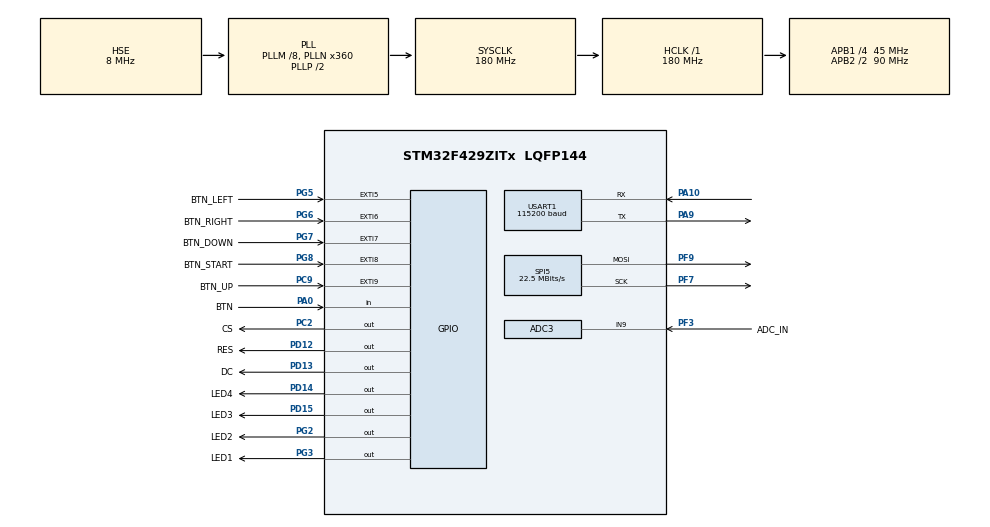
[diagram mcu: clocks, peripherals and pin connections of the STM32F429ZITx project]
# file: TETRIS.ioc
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ADC3.Channel-0\#ChannelRegularConversion=ADC_CHANNEL_9
ADC3.NbrOfConversionFlag=1
ADC3.Rank-0\#ChannelRegularConversion=1
ADC3.SamplingTime-0\#ChannelRegularConversion=ADC_SAMPLETIME_15CYCLES
Mcu.Family=STM32F4
Mcu.Name=STM32F429ZITx
Mcu.Package=LQFP144
NVIC.EXTI9_5_IRQn=true\:0\:0\:false\:false\:true\:true\:true\:true
NVIC.PriorityGroup=NVIC_PRIORITYGROUP_4
NVIC.USART1_IRQn=true\:0\:0\:false\:false\:true\:true\:true\:true
PA0/WKUP.GPIO_Label=BTN
PA0/WKUP.Signal=GPIO_Input
PA10.Mode=Asynchronous
PA10.Signal=USART1_RX
PA9.Mode=Asynchronous
PA9.Signal=USART1_TX
PC2.GPIO_Label=CS
PC2.GPIO_Speed=GPIO_SPEED_FREQ_HIGH
PC2.Signal=GPIO_Output
PC9.GPIO_Label=BTN_UP
PC9.GPIO_ModeDefaultEXTI=GPIO_MODE_IT_FALLING
PC9.GPIO_PuPd=GPIO_PULLUP
PC9.Signal=GPXTI9
PD12.GPIO_Label=RES
PD12.GPIO_Speed=GPIO_SPEED_FREQ_VERY_HIGH
PD12.Signal=GPIO_Output
PD13.GPIO_Label=DC
PD13.GPIO_Speed=GPIO_SPEED_FREQ_VERY_HIGH
PD13.Signal=GPIO_Output
PD14.GPIO_Label=LED4
PD14.Signal=GPIO_Output
PD15.GPIO_Label=LED3
PD15.Signal=GPIO_Output
PF3.GPIO_Label=ADC_IN
PF3.Signal=SharedAnalog_PF3
PF7.Mode=TX_Only_Simplex_Unidirect_Master
PF7.Signal=SPI5_SCK
PF8.Signal=SPI5_MISO
PF9.Mode=TX_Only_Simplex_Unidirect_Master
PF9.Signal=SPI5_MOSI
PG2.GPIO_Label=LED2
PG2.Signal=GPIO_Output
PG3.GPIO_Label=LED1
PG3.Signal=GPIO_Output
PG5.GPIO_Label=BTN_LEFT
PG5.GPIO_ModeDefaultEXTI=GPIO_MODE_IT_FALLING
PG5.GPIO_PuPd=GPIO_PULLUP
PG5.Signal=GPXTI5
PG6.GPIO_Label=BTN_RIGHT
PG6.GPIO_ModeDefaultEXTI=GPIO_MODE_IT_FALLING
PG6.GPIO_PuPd=GPIO_PULLUP
PG6.Signal=GPXTI6
PG7.GPIO_Label=BTN_DOWN
PG7.GPIO_ModeDefaultEXTI=GPIO_MODE_IT_FALLING
PG7.GPIO_PuPd=GPIO_PULLUP
PG7.Signal=GPXTI7
PG8.GPIO_Label=BTN_START
PG8.GPIO_ModeDefaultEXTI=GPIO_MODE_IT_FALLING
PG8.GPIO_PuPd=GPIO_PULLUP
PG8.Signal=GPXTI8
PH0/OSC_IN.Mode=HSE-External-Oscillator
PH0/OSC_IN.Signal=RCC_OSC_IN
PH1/OSC_OUT.Mode=HSE-External-Oscillator
PH1/OSC_OUT.Signal=RCC_OSC_OUT
ProjectManager.HeapSize=0x200
ProjectManager.StackSize=0x400
ProjectManager.TargetToolchain=STM32CubeIDE
RCC.48MHZClocksFreq_Value=90000000
RCC.AHBFreq_Value=180000000
RCC.APB1CLKDivider=RCC_HCLK_DIV4
RCC.APB1Freq_Value=45000000
RCC.APB1TimFreq_Value=90000000
RCC.APB2CLKDivider=RCC_HCLK_DIV2
RCC.APB2Freq_Value=90000000
RCC.APB2TimFreq_Value=180000000
RCC.CortexFreq_Value=180000000
RCC.HCLKFreq_Value=180000000
RCC.HSE_VALUE=8000000
RCC.HSI_VALUE=16000000
RCC.LSE_VALUE=32768
RCC.PLLM=8
RCC.PLLN=360
RCC.PLLSourceVirtual=RCC_PLLSOURCE_HSE
RCC.SYSCLKFreq_VALUE=180000000
RCC.SYSCLKSource=RCC_SYSCLKSOURCE_PLLCLK
RCC.VCOOutputFreq_Value=360000000
SH.SharedAnalog_PF3.0=GPIO_Analog
SH.SharedAnalog_PF3.1=ADC3_IN9,IN9
SPI5.BaudRatePrescaler=SPI_BAUDRATEPRESCALER_4
SPI5.CalculateBaudRate=22.5 MBits/s
SPI5.Direction=SPI_DIRECTION_2LINES
SPI5.Mode=SPI_MODE_MASTER
SPI5.VirtualType=VM_MASTER
USART1.BaudRate=115200
USART1.VirtualMode=VM_ASYNC
board=custom

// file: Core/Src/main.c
/* USER CODE BEGIN Header */
/**
  ******************************************************************************
  * @file           : main.c
  * @brief          : Main program body
  ******************************************************************************
  * @attention
  *
  * Copyright (c) 2025 STMicroelectronics.
  * All rights reserved.
  *
  * This software is licensed under terms that can be found in the LICENSE file
  * in the root directory of this software component.
  * If no LICENSE file comes with this software, it is provided AS-IS.
  *
  ******************************************************************************
  */
/* USER CODE END Header */
#include "main.h"

/* USER CODE BEGIN Includes */
#include "ili9341.h"
#include "fonts.h"
#include "level_imgs.h"
#include "gameover_img.h"
#include <stdio.h>
#include <string.h>
#include <stdlib.h>
/* USER CODE END Includes */

/* USER CODE BEGIN PTD */
typedef struct {
	int8_t x1, y1;
	int8_t x2, y2;
	int8_t x3, y3;
	uint16_t color;
	int8_t rot;
} _Block;
/* USER CODE END PTD */

/* USER CODE BEGIN PD */
#define KEY_IS_DOWN_PRESSED (HAL_GPIO_ReadPin(BTN_DOWN_GPIO_Port, BTN_DOWN_Pin) == GPIO_PIN_RESET)
#define COLOR_BG ILI9341_BLACK
#define COLOR_WALL ILI9341_BLUE
#define COLOR_SCORE_TEXT ILI9341_WHITE
#define COLOR_INFO_TEXT ILI9341_GREEN
#define COLOR_GAMEOVER ILI9341_RED
#define COLOR_FRAME 0xC638
#define O_BLOCK ILI9341_YELLOW
#define I_BLOCK ILI9341_CYAN
#define S_BLOCK ILI9341_GREEN
#define Z_BLOCK ILI9341_RED
#define L_BLOCK ILI9341_COLOR565(255, 165, 0)
#define J_BLOCK ILI9341_BLUE
#define T_BLOCK ILI9341_MAGENTA
#define COLOR_SPACE 0
#define COLOR_CLEARBLOCK ILI9341_WHITE
#define COLOR_GRID ILI9341_COLOR565(64, 64, 64)
#define BOARD_WIDTH 10
#define BOARD_HEIGHT 23
#define BOARD_ARRAY_WIDTH 12
#define BOARD_ARRAY_HEIGHT 25
#define BLOCK_SIZE 10
#define BOARD_X_OFFSET (ILI9341_WIDTH / 2 - (10*BLOCK_SIZE / 2))
#define BOARD_Y_OFFSET 80
#define SCORE_X_OFFSET 10
#define SCORE_Y_OFFSET 10
#define NEXT_X_OFFSET (ILI9341_WIDTH - (5 * BLOCK_SIZE) - 10 - 2)
#define NEXT_Y_OFFSET 22
#define NEXT_AREA_W (5 * BLOCK_SIZE)
#define NEXT_AREA_H (5 * BLOCK_SIZE)
#define NEXT_LABEL_H Font_7x10.height
#define NEXT_PADDING 2
#define SCENECLEARLINE 2
/* USER CODE END PD */

ADC_HandleTypeDef hadc3;

SPI_HandleTypeDef hspi5;

UART_HandleTypeDef huart1;

/* USER CODE BEGIN PV */
		// ---------- UART INPUT ----------
volatile uint8_t input_buffer[1];
volatile uint8_t uart_up=0;
volatile uint8_t uart_left=0;
volatile uint8_t uart_right=0;
volatile uint8_t uart_down=0;
volatile uint8_t uart_start=0;
volatile uint8_t physical_down_key_held = 0;
		// ---------- GAME STATE VARS ----------
uint16_t  board[BOARD_ARRAY_HEIGHT][BOARD_ARRAY_WIDTH];
uint16_t  boardchange[BOARD_ARRAY_HEIGHT][BOARD_ARRAY_WIDTH];
uint32_t score, highscore;
uint32_t total_lines = 0;
uint8_t  next;
uint8_t  fallspeed, fallcount;
uint8_t  level;
uint8_t  gamestatus;
uint8_t  lines;
const uint16_t scorearray[] = {40, 100, 300, 1200};
		// ---------- BLOCK DEFS ----------
const _Block block[7] = {
    {1, 0, -1, 0, -2, 0, I_BLOCK, 1}, // I
    {1, 0, -1, 0, -1,-1, J_BLOCK, 3}, // J
    {1, 0,  1,-1, -1, 0, L_BLOCK, 3}, // L
    {1, 0,  0,-1, -1,-1, Z_BLOCK, 1}, // Z
    {0,-1,  1,-1, -1, 0, S_BLOCK, 1}, // S
    {0,-1, -1, 0, -1,-1, O_BLOCK, 0}, // O
    {1, 0,  0,-1, -1, 0, T_BLOCK, 3}  // T
};
_Block falling;
int8_t  blockx, blocky;
uint8_t blockangle;
uint8_t blockno;
/* USER CODE END PV */

void SystemClock_Config(void);
static void MX_GPIO_Init(void);
static void MX_SPI5_Init(void);
static void MX_USART1_UART_Init(void);
static void MX_ADC3_Init(void);
/* USER CODE BEGIN PFP */
void updateLEDs(void);
void gameinit(void);
void gameinit2(void);
void gameinit3(void);
void title(void);
void game(void);
void clearscreen(void);
void DrawGridCell(uint16_t cell_px, uint16_t cell_py);
void show(void);
void displayscore(void);
void printnext(void);
int  check(_Block *bp, int8_t x, int8_t y);
void putblock(void);
void eraseblock(void);
int  newblock(void);
void moveblock(void);
void linecheck(void);
void displaylevel(void);
void redraw(void);
void gameover(void);
unsigned char startkeycheck(unsigned short n);
/* USER CODE END PFP */

/* USER CODE BEGIN 0 */
void updateLEDs(void) {
  uint32_t sum = 0;
  for (int i = 0; i < 10; i++) {
    HAL_ADC_Start(&hadc3);
    HAL_ADC_PollForConversion(&hadc3, HAL_MAX_DELAY);
    sum += HAL_ADC_GetValue(&hadc3);
    HAL_Delay(1);
  }
  uint32_t adcValue = sum / 10;

  float battV = adcValue * 0.00161; 		// V_in = ADC * (3.3/4095) * (R1+R2)/R2

  if (battV > 5.4) { 						// 100% // >3350 // PG3 PG2 PG15 PG14
    HAL_GPIO_WritePin(LED1_GPIO_Port, LED1_Pin, 1);
    HAL_GPIO_WritePin(LED2_GPIO_Port, LED2_Pin, 1);
    HAL_GPIO_WritePin(LED3_GPIO_Port, LED3_Pin, 1);
    HAL_GPIO_WritePin(LED4_GPIO_Port, LED4_Pin, 1);
  } else if (battV > 4.9) { 				// 75% // 3043–3350 // PG2 PG15 PG14
    HAL_GPIO_WritePin(LED1_GPIO_Port, LED1_Pin, 1);
    HAL_GPIO_WritePin(LED2_GPIO_Port, LED2_Pin, 1);
    HAL_GPIO_WritePin(LED3_GPIO_Port, LED3_Pin, 1);
    HAL_GPIO_WritePin(LED4_GPIO_Port, LED4_Pin, 0);
  } else if (battV > 4.4) { 				// 50% // 2730–3043 // PG15 PG14
    HAL_GPIO_WritePin(LED1_GPIO_Port, LED1_Pin, 1);
    HAL_GPIO_WritePin(LED2_GPIO_Port, LED2_Pin, 1);
    HAL_GPIO_WritePin(LED3_GPIO_Port, LED3_Pin, 0);
    HAL_GPIO_WritePin(LED4_GPIO_Port, LED4_Pin, 0);
  } else if (battV > 3.9) { 				// 25% // 2418–2730 // PG14
    HAL_GPIO_WritePin(LED1_GPIO_Port, LED1_Pin, 1);
    HAL_GPIO_WritePin(LED2_GPIO_Port, LED2_Pin, 0);
    HAL_GPIO_WritePin(LED3_GPIO_Port, LED3_Pin, 0);
    HAL_GPIO_WritePin(LED4_GPIO_Port, LED4_Pin, 0);
  } else {
    HAL_GPIO_WritePin(LED1_GPIO_Port, LED1_Pin, 0);
    HAL_GPIO_WritePin(LED2_GPIO_Port, LED2_Pin, 0);
    HAL_GPIO_WritePin(LED3_GPIO_Port, LED3_Pin, 0);
    HAL_GPIO_WritePin(LED4_GPIO_Port, LED4_Pin, 0);
  }

  HAL_Delay(4000);

  HAL_GPIO_WritePin(LED1_GPIO_Port, LED1_Pin, 0);
  HAL_GPIO_WritePin(LED2_GPIO_Port, LED2_Pin, 0);
  HAL_GPIO_WritePin(LED3_GPIO_Port, LED3_Pin, 0);
  HAL_GPIO_WritePin(LED4_GPIO_Port, LED4_Pin, 0);
}
void clearscreen(void)
{
	ILI9341_FillScreen(COLOR_BG);
}
void gameinit(void)
{
	highscore = 0;
	score = 0;
	total_lines = 0;
}
void gameinit2(void)
{
	score = 0;
	level = 0;
	lines = 0;
	total_lines = 0;
	fallspeed = 25;
	gamestatus = 1;
	clearscreen();
		//GAME AREA
	uint16_t board_frame_x = BOARD_X_OFFSET - 1;
	uint16_t board_frame_y = BOARD_Y_OFFSET - 1;
	uint16_t board_frame_w = BOARD_WIDTH * BLOCK_SIZE + 2; // Width including border pixels
	uint16_t board_frame_h = BOARD_HEIGHT * BLOCK_SIZE + 2; // Height including border pixels
		// Top line
	ILI9341_FillRectangle(board_frame_x, board_frame_y, board_frame_w, 1, COLOR_FRAME);
		// Bottom line
	ILI9341_FillRectangle(board_frame_x, board_frame_y + board_frame_h - 1, board_frame_w, 1, COLOR_FRAME);
		// Left line
	ILI9341_FillRectangle(board_frame_x, board_frame_y, 1, board_frame_h, COLOR_FRAME);
		// Right line
	ILI9341_FillRectangle(board_frame_x + board_frame_w - 1, board_frame_y, 1, board_frame_h, COLOR_FRAME);

		//SCORE AREA
	uint16_t score_frame_x = SCORE_X_OFFSET - 1;
	uint16_t score_frame_y = SCORE_Y_OFFSET - 1;
	uint16_t score_frame_w = 80;
	uint16_t score_frame_h = 5 * (Font_7x10.height + 2) + 4;
	    // Top
	ILI9341_FillRectangle(score_frame_x, score_frame_y, score_frame_w, 1, COLOR_FRAME);
	    // Bottom
	ILI9341_FillRectangle(score_frame_x, score_frame_y + score_frame_h - 1, score_frame_w, 1, COLOR_FRAME);
	    // Left
	ILI9341_FillRectangle(score_frame_x, score_frame_y, 1, score_frame_h, COLOR_FRAME);
	    // Right
	ILI9341_FillRectangle(score_frame_x + score_frame_w - 1, score_frame_y, 1, score_frame_h, COLOR_FRAME);
		//NEXT AREA
	 uint16_t next_frame_x = NEXT_X_OFFSET - NEXT_PADDING;
	 uint16_t next_frame_y = NEXT_Y_OFFSET - NEXT_LABEL_H - NEXT_PADDING*2;
	 uint16_t next_frame_w = NEXT_AREA_W + NEXT_PADDING*2;
	 uint16_t next_frame_h = NEXT_LABEL_H + NEXT_AREA_H + NEXT_PADDING*2;
	    // Top
	ILI9341_FillRectangle(next_frame_x, next_frame_y, next_frame_w, 1, COLOR_FRAME);
	    // Bottom
	ILI9341_FillRectangle(next_frame_x, next_frame_y + next_frame_h - 1, next_frame_w, 1, COLOR_FRAME);
	    // Left
	ILI9341_FillRectangle(next_frame_x, next_frame_y, 1, next_frame_h, COLOR_FRAME);
	    // Right
	ILI9341_FillRectangle(next_frame_x + next_frame_w - 1, next_frame_y, 1, next_frame_h, COLOR_FRAME);
		// GAME AREA LOGIC
	for (int y = 0; y < BOARD_ARRAY_HEIGHT; y++)
	{
		for (int x = 0; x < BOARD_ARRAY_WIDTH; x++)
		{
			if (x == 0 || x == BOARD_ARRAY_WIDTH - 1 || y == BOARD_ARRAY_HEIGHT - 1)
			{
				board[y][x] = COLOR_WALL;
			}
			else {
				board[y][x] = COLOR_SPACE;
			}
		}
	}
		// DRAW PLAYFIELD BACKGROUND
	ILI9341_FillRectangle(BOARD_X_OFFSET, BOARD_Y_OFFSET, BOARD_WIDTH * BLOCK_SIZE, BOARD_HEIGHT * BLOCK_SIZE, COLOR_BG);
		// DRAW GRID
	for(int x = 1; x < BOARD_WIDTH; x++)
	{
		ILI9341_FillRectangle(BOARD_X_OFFSET + x * BLOCK_SIZE -1, BOARD_Y_OFFSET, 1, BOARD_HEIGHT * BLOCK_SIZE, COLOR_GRID);
	}
	for(int y = 1; y < BOARD_HEIGHT; y++) {ILI9341_FillRectangle(BOARD_X_OFFSET, BOARD_Y_OFFSET + y * BLOCK_SIZE -1, BOARD_WIDTH * BLOCK_SIZE, 1, COLOR_GRID);
	}
	for (int y = 0; y < BOARD_ARRAY_HEIGHT; y++)
	{
		for (int x = 0; x < BOARD_ARRAY_WIDTH; x++)
		{
			boardchange[y][x] = 1;
		}
	}
		// DISPLAYS
	displayscore();
	next = rand() % 7;
	printnext();
}
void gameinit3(void)
{
	level++;

	if (fallspeed > 5)
	{
		fallspeed -=3;
	}
	else if (fallspeed > 1) {
		   fallspeed--;
	}
	srand(HAL_GetTick()+level);
}
void DrawGridCell(uint16_t cell_px, uint16_t cell_py)
{
    ILI9341_FillRectangle(cell_px, cell_py + BLOCK_SIZE - 1, BLOCK_SIZE, 1, COLOR_GRID);
    ILI9341_FillRectangle(cell_px + BLOCK_SIZE - 1, cell_py, 1, BLOCK_SIZE, COLOR_GRID);
}
void show(void)
{
	uint16_t color_to_draw;
	for (int y = 1; y <= BOARD_HEIGHT; y++) {
		for (int x = 1; x <= BOARD_WIDTH; x++) {
			if (boardchange[y][x]) {
                uint16_t px = BOARD_X_OFFSET + (x - 1) * BLOCK_SIZE;
                uint16_t py = BOARD_Y_OFFSET + (y - 1) * BLOCK_SIZE;

				if (board[y][x] == COLOR_SPACE)
	            {
					color_to_draw = COLOR_BG;
                    ILI9341_FillRectangle(px, py, BLOCK_SIZE, BLOCK_SIZE, color_to_draw);
                    DrawGridCell(px, py);
	            } else {
	            	color_to_draw = board[y][x];
                    ILI9341_FillRectangle(px, py, BLOCK_SIZE, BLOCK_SIZE, color_to_draw);
	            }
				boardchange[y][x] = 0;
			}
	    }
	}
}
void displayscore(void)
{
	char buffer[20];
	uint8_t num_info_lines = 5;
	uint16_t line_height = Font_7x10.height + 2;
	uint16_t clear_width = 78;
	uint16_t clear_height = num_info_lines * line_height + 2;
		// CLEAR
	ILI9341_FillRectangle(SCORE_X_OFFSET, SCORE_Y_OFFSET, clear_width, clear_height, COLOR_BG);
		// Display Score
	sprintf(buffer, "SCORE:%lu", score);
	ILI9341_WriteString(SCORE_X_OFFSET, SCORE_Y_OFFSET + 2, buffer, Font_7x10, COLOR_SCORE_TEXT, COLOR_BG);

		// Display High Score
	sprintf(buffer, "HI   :%lu", highscore);
	ILI9341_WriteString(SCORE_X_OFFSET, SCORE_Y_OFFSET + line_height + 2, buffer, Font_7x10, COLOR_SCORE_TEXT, COLOR_BG);

		// Display Per-Level Lines
	sprintf(buffer, "LINES:%d", lines);
	ILI9341_WriteString(SCORE_X_OFFSET, SCORE_Y_OFFSET + 2 * line_height + 2, buffer, Font_7x10, COLOR_SCORE_TEXT, COLOR_BG);

	    // Display TOTAL Lines
	sprintf(buffer, "TOTAL:%lu", total_lines);
	ILI9341_WriteString(SCORE_X_OFFSET, SCORE_Y_OFFSET + 3 * line_height + 2, buffer, Font_7x10, COLOR_SCORE_TEXT, COLOR_BG);

		// Display Level
	sprintf(buffer, "LEVEL:%d", level);
	ILI9341_WriteString(SCORE_X_OFFSET, SCORE_Y_OFFSET + 4 * line_height + 2, buffer, Font_7x10, COLOR_SCORE_TEXT, COLOR_BG);
}
void printnext(void)
{
	const _Block *bp = &block[next];

	uint16_t preview_x = NEXT_X_OFFSET;
	uint16_t preview_y = NEXT_Y_OFFSET;
	uint16_t preview_w = NEXT_AREA_W;
	uint16_t preview_h = NEXT_AREA_H - 2;

	uint16_t label_w = strlen("NEXT") * Font_7x10.width;
	uint16_t label_h = NEXT_LABEL_H;
	uint16_t label_x = NEXT_X_OFFSET + (preview_w - label_w) / 2;
	uint16_t label_y = NEXT_Y_OFFSET - label_h - NEXT_PADDING;

	ILI9341_FillRectangle(label_x, label_y, label_w, label_h, COLOR_BG);
	ILI9341_FillRectangle(preview_x, preview_y, preview_w, preview_h, COLOR_BG);

	ILI9341_WriteString(label_x, label_y, "NEXT", Font_7x10, COLOR_INFO_TEXT, COLOR_BG);

	uint16_t base_center_x = NEXT_X_OFFSET + preview_w / 2;
	uint16_t base_center_y = NEXT_Y_OFFSET + preview_h / 2;

    uint16_t anchor_x = base_center_x - BLOCK_SIZE/2;
    uint16_t anchor_y = base_center_y - BLOCK_SIZE/2;

	switch (next) {
        case 0: // I-Bloc
            anchor_x += BLOCK_SIZE / 2;
            break;

        case 1: // J-Block
             anchor_y -= BLOCK_SIZE / 4;
            break;

        case 2: // L-Block
             anchor_y -= BLOCK_SIZE / 4;
            break;

        case 3: // Z-Block
             anchor_y += BLOCK_SIZE / 4;
            break;

        case 4: // S-Block
             anchor_y += BLOCK_SIZE / 4;
            break;

        case 5: // O-Block
            anchor_x += BLOCK_SIZE / 2;
            break;

         case 6: // T-Block
             anchor_y -= BLOCK_SIZE / 4;
            break;
        default:
            break;
	}
	ILI9341_FillRectangle(anchor_x + 0 * BLOCK_SIZE,         anchor_y + 0 * BLOCK_SIZE,         BLOCK_SIZE, BLOCK_SIZE, bp->color); // Center block ref
	ILI9341_FillRectangle(anchor_x + bp->x1 * BLOCK_SIZE,    anchor_y + bp->y1 * BLOCK_SIZE,    BLOCK_SIZE, BLOCK_SIZE, bp->color); // Block 1
	ILI9341_FillRectangle(anchor_x + bp->x2 * BLOCK_SIZE,    anchor_y + bp->y2 * BLOCK_SIZE,    BLOCK_SIZE, BLOCK_SIZE, bp->color); // Block 2
	ILI9341_FillRectangle(anchor_x + bp->x3 * BLOCK_SIZE,    anchor_y + bp->y3 * BLOCK_SIZE,    BLOCK_SIZE, BLOCK_SIZE, bp->color); // Block 3
}
void redraw(void)
{
	uint16_t board_frame_x = BOARD_X_OFFSET - 1;
	uint16_t board_frame_y = BOARD_Y_OFFSET - 1;
	uint16_t board_frame_w = BOARD_WIDTH * BLOCK_SIZE + 2;
	uint16_t board_frame_h = BOARD_HEIGHT * BLOCK_SIZE + 2;
	ILI9341_FillRectangle(board_frame_x, board_frame_y, board_frame_w, 1, COLOR_FRAME); // Top
	ILI9341_FillRectangle(board_frame_x, board_frame_y + board_frame_h - 1, board_frame_w, 1, COLOR_FRAME); // Bottom
	ILI9341_FillRectangle(board_frame_x, board_frame_y, 1, board_frame_h, COLOR_FRAME); // Left
	ILI9341_FillRectangle(board_frame_x + board_frame_w - 1, board_frame_y, 1, board_frame_h, COLOR_FRAME); // Right
	// Score Area Frame
	uint16_t score_frame_x = SCORE_X_OFFSET - 1;
	uint16_t score_frame_y = SCORE_Y_OFFSET - 1;
	uint16_t score_frame_w = 80;
	uint16_t score_frame_h = 5 * (Font_7x10.height + 2) + 4;
	ILI9341_FillRectangle(score_frame_x, score_frame_y, score_frame_w, 1, COLOR_FRAME); // Top
	ILI9341_FillRectangle(score_frame_x, score_frame_y + score_frame_h - 1, score_frame_w, 1, COLOR_FRAME); // Bottom
	ILI9341_FillRectangle(score_frame_x, score_frame_y, 1, score_frame_h, COLOR_FRAME); // Left
	ILI9341_FillRectangle(score_frame_x + score_frame_w - 1, score_frame_y, 1, score_frame_h, COLOR_FRAME); // Right
	// Next Area Frame
	uint16_t next_frame_x = NEXT_X_OFFSET - NEXT_PADDING;
	uint16_t next_frame_y = NEXT_Y_OFFSET - NEXT_LABEL_H - NEXT_PADDING*2;
	uint16_t next_frame_w = NEXT_AREA_W + NEXT_PADDING*2;
	uint16_t next_frame_h = NEXT_LABEL_H + NEXT_AREA_H + NEXT_PADDING*3;
	ILI9341_FillRectangle(next_frame_x, next_frame_y, next_frame_w, 1, COLOR_FRAME); // Top
	ILI9341_FillRectangle(next_frame_x, next_frame_y + next_frame_h - 1, next_frame_w, 1, COLOR_FRAME); // Bottom
	ILI9341_FillRectangle(next_frame_x, next_frame_y, 1, next_frame_h, COLOR_FRAME); // Left
	ILI9341_FillRectangle(next_frame_x + next_frame_w - 1, next_frame_y, 1, next_frame_h, COLOR_FRAME); // Right

	// Redraw Grid
	// Draw Vertical Lines
	for(int x = 1; x < BOARD_WIDTH; x++)
	{
		ILI9341_FillRectangle(BOARD_X_OFFSET + x * BLOCK_SIZE -1, BOARD_Y_OFFSET,
				1, BOARD_HEIGHT * BLOCK_SIZE, COLOR_GRID);
	}
	// Draw Horizontal Lines
	for(int y = 1; y < BOARD_HEIGHT; y++)
	{
		ILI9341_FillRectangle(BOARD_X_OFFSET, BOARD_Y_OFFSET + y * BLOCK_SIZE -1,
				BOARD_WIDTH * BLOCK_SIZE, 1, COLOR_GRID);
	}

	// Mark boardchange array fully to redraw existing blocks
	for (int y = 1; y <= BOARD_HEIGHT; y++)
	{
		for (int x = 1; x <= BOARD_WIDTH; x++)
		{
			boardchange[y][x] = 1;
		}
	}
	// Update static displays
	displayscore();
	printnext();
	return;
}
void displaylevel(void)
{

	char buffer[20];
	sprintf(buffer, "LEVEL %d START!", level);
	uint16_t msg_w = strlen(buffer) * Font_11x18.width;
	uint16_t msg_h = Font_11x18.height;
	uint16_t msg_x = (ILI9341_WIDTH - msg_w) / 2;
	uint16_t msg_y = (ILI9341_HEIGHT - msg_h) / 2;

		// Game Frame Coordinates
	uint16_t board_frame_x = BOARD_X_OFFSET - 1;
	uint16_t board_frame_y = BOARD_Y_OFFSET - 1;
	uint16_t board_frame_w = BOARD_WIDTH * BLOCK_SIZE + 2;
	uint16_t board_frame_h = BOARD_HEIGHT * BLOCK_SIZE + 2;

		// Display LEVEL text
	ILI9341_WriteString(msg_x, msg_y, buffer, Font_11x18, COLOR_INFO_TEXT, COLOR_BG);
	HAL_Delay(3000);

		// Clear LEVEL text area
	ILI9341_FillRectangle(msg_x, msg_y, msg_w, msg_h, COLOR_BG);

		// Redraw affected FRAME lines
    uint16_t msg_end_x = msg_x + msg_w;
    uint16_t msg_end_y = msg_y + msg_h;

    ILI9341_FillRectangle(board_frame_x, board_frame_y, board_frame_w, 1, COLOR_FRAME); // Top
    ILI9341_FillRectangle(board_frame_x, board_frame_y + board_frame_h - 1, board_frame_w, 1, COLOR_FRAME); // Bottom
    ILI9341_FillRectangle(board_frame_x, board_frame_y, 1, board_frame_h, COLOR_FRAME); // Left
    ILI9341_FillRectangle(board_frame_x + board_frame_w - 1, board_frame_y, 1, board_frame_h, COLOR_FRAME); // Right

	int start_y = (msg_y >= BOARD_Y_OFFSET) ? (msg_y - BOARD_Y_OFFSET) / BLOCK_SIZE + 1 : 1;
	int end_y   = (msg_end_y > BOARD_Y_OFFSET) ? (msg_end_y - BOARD_Y_OFFSET) / BLOCK_SIZE + 1 : 0;
	int start_x = (msg_x >= BOARD_X_OFFSET) ? (msg_x - BOARD_X_OFFSET) / BLOCK_SIZE + 1 : 1;
	int end_x   = (msg_end_x > BOARD_X_OFFSET) ? (msg_end_x - BOARD_X_OFFSET) / BLOCK_SIZE + 1 : 0;

    if (start_y < 1) start_y = 1;
    if (end_y > BOARD_HEIGHT) end_y = BOARD_HEIGHT;
	if (start_x < 1) start_x = 1;
	if (end_x > BOARD_WIDTH) end_x = BOARD_WIDTH;

	if (end_y >= start_y && end_x >= start_x) {
	    for (int y = start_y; y <= end_y; y++) {
	        for (int x = start_x; x <= end_x; x++) {
                if (y < BOARD_ARRAY_HEIGHT && x < BOARD_ARRAY_WIDTH) {
	                boardchange[y][x] = 1;
                }
	        }
	    }
	}
	displayscore();
	if (level == 4) {
		clearscreen();
		ILI9341_DrawImage((ILI9341_WIDTH - 240) / 2, (ILI9341_HEIGHT - 240) / 2, 240, 240, (const uint16_t*)level4_img);
		HAL_Delay(5000);
		clearscreen();
		redraw();
	}
	if (level == 6) {
		clearscreen();
		ILI9341_DrawImage((ILI9341_WIDTH - 240) / 2, (ILI9341_HEIGHT - 240) / 2, 240, 240, (const uint16_t*)level6_img);
		HAL_Delay(5000);
		clearscreen();
		redraw();
	}
	if (level == 8) {
		clearscreen();
		ILI9341_DrawImage((ILI9341_WIDTH - 240) / 2, (ILI9341_HEIGHT - 320) / 2, 240, 320, (const uint16_t*)level8_img);
		HAL_Delay(5000);
		clearscreen();
		redraw();
	}
}

void gameover(void){
	char *msg = "GAME OVER";
	uint16_t msg_w = strlen(msg) * Font_16x26.width;
	uint16_t msg_h = Font_16x26.height;
	uint16_t msg_x = (ILI9341_WIDTH - msg_w) / 2;
	uint16_t msg_y = (ILI9341_HEIGHT - msg_h) / 2;
		// GAME OVER
	ILI9341_WriteString(msg_x, msg_y, msg, Font_16x26, COLOR_GAMEOVER, COLOR_BG);

	HAL_Delay(3000);
	clearscreen();

	ILI9341_DrawImage((ILI9341_WIDTH - 240) / 2, (ILI9341_HEIGHT - 240) / 2, 240, 240, (const uint16_t*)gameover_img);
	HAL_Delay(5000);

	clearscreen();
}
int check(_Block *bp, int8_t x, int8_t y)
{
		// Check center block position
	if (board[y][x] != COLOR_SPACE) return -1;
		// Check relative block 1 position
	if (board[y + bp->y1][x + bp->x1] != COLOR_SPACE) return -1;
		// Check relative block 2 position
	if (board[y + bp->y2][x + bp->x2] != COLOR_SPACE) return -1;
		// Check relative block 3 position
	if (board[y + bp->y3][x + bp->x3] != COLOR_SPACE) return -1;
	return 0;
		// No collision
}
void putblock(void)
{
	_Block *bp = &falling;
	uint16_t color = bp->color;

	board[blocky][blockx] = color;
	board[blocky + bp->y1][blockx + bp->x1] = color;
	board[blocky + bp->y2][blockx + bp->x2] = color;
	board[blocky + bp->y3][blockx + bp->x3] = color;

	boardchange[blocky][blockx] = 1;
	boardchange[blocky + bp->y1][blockx + bp->x1] = 1;
	boardchange[blocky + bp->y2][blockx + bp->x2] = 1;
	boardchange[blocky + bp->y3][blockx + bp->x3] = 1;
}
void eraseblock(void)
{
    _Block *bp = &falling;
    // Set board locations to empty (COLOR_SPACE = 0)
    board[blocky][blockx] = COLOR_SPACE;
    board[blocky + bp->y1][blockx + bp->x1] = COLOR_SPACE;
    board[blocky + bp->y2][blockx + bp->x2] = COLOR_SPACE;
    board[blocky + bp->y3][blockx + bp->x3] = COLOR_SPACE;

    boardchange[blocky][blockx] = 1;
    boardchange[blocky + bp->y1][blockx + bp->x1] = 1;
    boardchange[blocky + bp->y2][blockx + bp->x2] = 1;
    boardchange[blocky + bp->y3][blockx + bp->x3] = 1;
}
int  newblock(void)
{
	const _Block *blockp = &block[next];
	falling.x1 = blockp->x1; falling.y1 = blockp->y1;
	falling.x2 = blockp->x2; falling.y2 = blockp->y2;
	falling.x3 = blockp->x3; falling.y3 = blockp->y3;
	falling.color = blockp->color;
	falling.rot = blockp->rot;

	blockx = BOARD_ARRAY_WIDTH / 2 - 1;
	blocky = 2;
	blockangle = 0;
	blockno = next;

	fallcount = fallspeed;

	next = rand() % 7;
	printnext();

	if (check(&falling, blockx, blocky) != 0)
	{
		return -1;
	}

	putblock();
	return 0;
}
void moveblock(void)
{
	_Block tempblock;
	const _Block *blockp;
		// Player Input
		// Rotate
	if (uart_up)
	{
		uart_up = 0;
		eraseblock();

		uint8_t next_angle = (blockangle + 1) % 4;
		if (falling.rot == 1 && next_angle > 1) next_angle = 0;
		if (falling.rot == 0) next_angle = 0;

		if (blockangle == falling.rot)
		{
			blockp = &block[blockno];
			tempblock = *blockp;
		} else {
			tempblock.x1 = -falling.y1; tempblock.y1 = falling.x1;
			tempblock.x2 = -falling.y2; tempblock.y2 = falling.x2;
			tempblock.x3 = -falling.y3; tempblock.y3 = falling.x3;
			tempblock.color = falling.color;
			tempblock.rot = falling.rot;
		}
			// Check rotate
		if (check(&tempblock, blockx, blocky) == 0)
		{
			falling = tempblock;
			blockangle = (blockangle == falling.rot) ? 0 : blockangle + 1;
		}
		putblock();
	}
		// Move Right
	else if (uart_right) {
		uart_right = 0;
		eraseblock();
		if (check(&falling, blockx + 1, blocky) == 0)
		{
			blockx++;
		}
		putblock();
	}
		// Move Left
	else if (uart_left) {
		uart_left = 0;
		eraseblock();
		if (check(&falling, blockx - 1, blocky) == 0)
		{
			blockx--;
		}
		putblock();
	}
		// Move Down
	bool down_command_active = uart_down || KEY_IS_DOWN_PRESSED;

	if (down_command_active) {
        if (uart_down) {
            uart_down = 0;
        }
		eraseblock();
		if (check(&falling, blockx, blocky + 1) == 0)
		{
			blocky++;
			score++;
			if (score > highscore) highscore = score;
		}
		putblock();
	}
		// Fall Logic
	fallcount--;
	if (fallcount == 0)
	{
		fallcount = fallspeed;
		eraseblock();
		if (check(&falling, blockx, blocky + 1) == 0)
		{
			blocky++;
			putblock();
		} else {
			putblock();
			gamestatus = 4;
			return;
		}
		putblock();
	}
}
void linecheck(void)
{
	uint8_t cleared_line_count = 0;
	int8_t y_check;
	int8_t first_cleared_y = -1;

		// Detect and Visually Mark Cleared Lines
	for (y_check = BOARD_HEIGHT; y_check >= 1; y_check--)
	{
		uint8_t blocks_in_row = 0;
		for (int8_t x = 1; x <= BOARD_WIDTH; x++)
		{
			if (board[y_check][x] != COLOR_SPACE)
			{
				blocks_in_row++;
			}
		}
		if (blocks_in_row == BOARD_WIDTH)
		{
			if (first_cleared_y == -1 || y_check < first_cleared_y)
			{
				first_cleared_y = y_check;
			}
			cleared_line_count++;
			uint16_t px = BOARD_X_OFFSET;
			uint16_t py = BOARD_Y_OFFSET + (y_check - 1) * BLOCK_SIZE;
			ILI9341_FillRectangle(px, py, BOARD_WIDTH * BLOCK_SIZE, BLOCK_SIZE, COLOR_CLEARBLOCK);
		}
	}
	if (cleared_line_count == 0)
	{
		gamestatus = 2;
		return;
	}

	uint16_t base_points = scorearray[cleared_line_count - 1];
	float multiplier = 1.0f + (float)(level - 1) * 0.5f;
	uint32_t points_to_add = (uint32_t)(base_points * multiplier);

		// Display Score Added
	if (first_cleared_y != -1)
	{
		char score_msg[10];
		sprintf(score_msg, "+%lu", points_to_add);
		uint16_t msg_w = strlen(score_msg) * Font_7x10.width;
		uint16_t msg_x = BOARD_X_OFFSET + (BOARD_WIDTH * BLOCK_SIZE - msg_w) / 2;
		uint16_t msg_y = BOARD_Y_OFFSET + (first_cleared_y - 1) * BLOCK_SIZE + (BLOCK_SIZE - Font_7x10.height)/2;

		ILI9341_WriteString(msg_x, msg_y, score_msg, Font_7x10, ILI9341_BLACK, COLOR_CLEARBLOCK);
	}

	HAL_Delay(500);

		// Shift Board Down
	int8_t row_to_write = BOARD_HEIGHT;
	for (y_check = BOARD_HEIGHT; y_check >= 1; y_check--)
	{
		uint8_t blocks_in_row = 0;

		for(int i=0; i < cleared_line_count; ++i)
		{
			for (int8_t x = 1; x <= BOARD_WIDTH; x++)
			{
				if (board[y_check][x] != COLOR_SPACE) { blocks_in_row++; }
			}
			if (blocks_in_row == BOARD_WIDTH)
			{
				break;
			}
		}
		blocks_in_row = 0;
		for (int8_t x = 1; x <= BOARD_WIDTH; x++)
		{
			if (board[y_check][x] != COLOR_SPACE) { blocks_in_row++; }
		}

		if (blocks_in_row < BOARD_WIDTH)
		{
			if (row_to_write != y_check)
			{
				for (int8_t x = 1; x <= BOARD_WIDTH; x++)
				{
					board[row_to_write][x] = board[y_check][x];
					boardchange[row_to_write][x] = 1;
				}
			}
			row_to_write--;
		}
	}
	    // Clear Top Rows
    while (row_to_write >= 1)
    {
        for (int8_t x = 1; x <= BOARD_WIDTH; x++)
        {
            board[row_to_write][x] = COLOR_SPACE;
            boardchange[row_to_write][x] = 1;
        }
        row_to_write--;
    }
		// Update Score, Lines, and Game State
	score += points_to_add;
	if (score > highscore)
	{
		highscore = score;
	}
	lines += cleared_line_count;
	total_lines += cleared_line_count;

	if (lines >= SCENECLEARLINE)
	{
		gamestatus = 1;
		lines = 0;
	} else {
		gamestatus = 2;
	}
	displayscore();
}
unsigned char startkeycheck(unsigned short n)
{
	while (n--)
	{
		HAL_Delay(16);
		if (uart_start) {
			uart_start = 0;
			return 1;
		}
	}
	return 0;
}
void title(void)
{
    clearscreen();
    char buffer[30];
    uint16_t y_pos = 30;
    uint16_t line_spacing_small = Font_7x10.height + 4;
    uint16_t temp_x;
    uint16_t temp_w;
    	// Title Text
    temp_w = strlen("TETRIS") * Font_16x26.width;
    temp_x = (ILI9341_WIDTH > temp_w) ? (ILI9341_WIDTH - temp_w) / 2 : 0;
    ILI9341_WriteString(temp_x, y_pos, "TETRIS", Font_16x26, ILI9341_YELLOW, COLOR_BG);
    y_pos += Font_16x26.height + 10;

    	// Info Text
    temp_w = strlen("STM32F429 / SPI LCD") * Font_7x10.width;
    temp_x = (ILI9341_WIDTH > temp_w) ? (ILI9341_WIDTH - temp_w) / 2 : 0;
    ILI9341_WriteString(temp_x, y_pos, "STM32F429 / SPI LCD", Font_7x10, ILI9341_CYAN, COLOR_BG);
    y_pos += line_spacing_small * 2;

    	// Display Scores
    sprintf(buffer, "LAST SCORE: %lu", score);
    ILI9341_WriteString(10, y_pos, buffer, Font_7x10, COLOR_SCORE_TEXT, COLOR_BG);
    y_pos += line_spacing_small;
    sprintf(buffer, "HIGH SCORE: %lu", highscore);
    ILI9341_WriteString(10, y_pos, buffer, Font_7x10, COLOR_SCORE_TEXT, COLOR_BG);
    y_pos += line_spacing_small * 2;

    	// Instructions
    ILI9341_WriteString(10, y_pos, "CONTROLS :", Font_7x10, COLOR_INFO_TEXT, COLOR_BG);
    y_pos += line_spacing_small;
    ILI9341_WriteString(10, y_pos, "'a': Left  'd': Right", Font_7x10, COLOR_INFO_TEXT, COLOR_BG);
    y_pos += line_spacing_small;
    ILI9341_WriteString(10, y_pos, "'s': Down  'w': Rotate", Font_7x10, COLOR_INFO_TEXT, COLOR_BG);
    y_pos += line_spacing_small;
    ILI9341_WriteString(10, y_pos, "'e': Start", Font_7x10, COLOR_INFO_TEXT, COLOR_BG);
    y_pos += line_spacing_small * 3;

    	// Prompt
    temp_w = strlen("Send 'e' to Start") * Font_7x10.width;
    temp_x = (ILI9341_WIDTH > temp_w) ? (ILI9341_WIDTH - temp_w) / 2 : 0;
    ILI9341_WriteString(temp_x, ILI9341_HEIGHT - line_spacing_small - 10, "Send 'e' to Start", Font_7x10, ILI9341_WHITE, COLOR_BG);

    while (1)
    {
    	if (startkeycheck(60)) return;
    }
}
void game(void)
{
	gameinit2();

	while (gamestatus != 6)
	{
		switch (gamestatus)
		{
		case 1: // Initialize New Level
			gameinit3();
			displaylevel();
			gamestatus = 2;
			break;

		case 2: // Spawn New Block
			if (newblock() != 0)
			{
				gamestatus = 5;
			} else {
				gamestatus = 3;
			}
			break;

		case 3: // Block Falling, Input Check
			// Game tick delay happens here
			HAL_Delay(16); // ~60Hz loop speed

			show();         // Redraw changed parts of the board
			displayscore(); // Update score display
			eraseblock();   // Erase block at current position
			moveblock();    // Check input, apply natural fall, check landing
			putblock();     // Draw block at new position

			break;

		case 4: // Block Landed, Check for Line Clears
			show();
			linecheck(); // Check lines, clear them, update score/lines
			break;
		case 5: // Game Over
			gameover();
			gamestatus = 6;
			break;
		default:
			gamestatus = 6;
			break;
		}
	}
}
/* USER CODE END 0 */

int main(void)
{

  /* MCU Configuration--------------------------------------------------------*/

  /* Reset of all peripherals, Initializes the Flash interface and the Systick. */
  HAL_Init();

  /* Configure the system clock */
  SystemClock_Config();

  /* Initialize all configured peripherals */
  MX_GPIO_Init();
  MX_SPI5_Init();
  MX_USART1_UART_Init();
  MX_ADC3_Init();
  /* USER CODE BEGIN 2 */
  srand(HAL_GetTick());
  ILI9341_Init();
  ILI9341_FillScreen(COLOR_BG);
  HAL_UART_Receive_IT(&huart1, input_buffer, 1);

  gameinit();
  /* USER CODE END 2 */

  /* Infinite loop */
  /* USER CODE BEGIN WHILE */
  while (1)
  {
	  updateLEDs();
	  title();
	  game();
    /* USER CODE END WHILE */

  }
}

void SystemClock_Config(void)
{
  RCC_OscInitTypeDef RCC_OscInitStruct = {0};
  RCC_ClkInitTypeDef RCC_ClkInitStruct = {0};

  /** Configure the main internal regulator output voltage
  */
  __HAL_RCC_PWR_CLK_ENABLE();
  __HAL_PWR_VOLTAGESCALING_CONFIG(PWR_REGULATOR_VOLTAGE_SCALE1);

  /** Initializes the RCC Oscillators according to the specified parameters
  * in the RCC_OscInitTypeDef structure.
  */
  RCC_OscInitStruct.OscillatorType = RCC_OSCILLATORTYPE_HSE;
  RCC_OscInitStruct.HSEState = RCC_HSE_ON;
  RCC_OscInitStruct.PLL.PLLState = RCC_PLL_ON;
  RCC_OscInitStruct.PLL.PLLSource = RCC_PLLSOURCE_HSE;
  RCC_OscInitStruct.PLL.PLLM = 8;
  RCC_OscInitStruct.PLL.PLLN = 360;
  RCC_OscInitStruct.PLL.PLLP = RCC_PLLP_DIV2;
  RCC_OscInitStruct.PLL.PLLQ = 4;
  if (HAL_RCC_OscConfig(&RCC_OscInitStruct) != HAL_OK)
  {
    Error_Handler();
  }

  /** Activate the Over-Drive mode
  */
  if (HAL_PWREx_EnableOverDrive() != HAL_OK)
  {
    Error_Handler();
  }

  /** Initializes the CPU, AHB and APB buses clocks
  */
  RCC_ClkInitStruct.ClockType = RCC_CLOCKTYPE_HCLK|RCC_CLOCKTYPE_SYSCLK
                              |RCC_CLOCKTYPE_PCLK1|RCC_CLOCKTYPE_PCLK2;
  RCC_ClkInitStruct.SYSCLKSource = RCC_SYSCLKSOURCE_PLLCLK;
  RCC_ClkInitStruct.AHBCLKDivider = RCC_SYSCLK_DIV1;
  RCC_ClkInitStruct.APB1CLKDivider = RCC_HCLK_DIV4;
  RCC_ClkInitStruct.APB2CLKDivider = RCC_HCLK_DIV2;

  if (HAL_RCC_ClockConfig(&RCC_ClkInitStruct, FLASH_LATENCY_5) != HAL_OK)
  {
    Error_Handler();
  }
}

static void MX_ADC3_Init(void)
{

  ADC_ChannelConfTypeDef sConfig = {0};

  /** Configure the global features of the ADC (Clock, Resolution, Data Alignment and number of conversion)
  */
  hadc3.Instance = ADC3;
  hadc3.Init.ClockPrescaler = ADC_CLOCK_SYNC_PCLK_DIV4;
  hadc3.Init.Resolution = ADC_RESOLUTION_12B;
  hadc3.Init.ScanConvMode = DISABLE;
  hadc3.Init.ContinuousConvMode = DISABLE;
  hadc3.Init.DiscontinuousConvMode = DISABLE;
  hadc3.Init.ExternalTrigConvEdge = ADC_EXTERNALTRIGCONVEDGE_NONE;
  hadc3.Init.ExternalTrigConv = ADC_SOFTWARE_START;
  hadc3.Init.DataAlign = ADC_DATAALIGN_RIGHT;
  hadc3.Init.NbrOfConversion = 1;
  hadc3.Init.DMAContinuousRequests = DISABLE;
  hadc3.Init.EOCSelection = ADC_EOC_SINGLE_CONV;
  if (HAL_ADC_Init(&hadc3) != HAL_OK)
  {
    Error_Handler();
  }

  /** Configure for the selected ADC regular channel its corresponding rank in the sequencer and its sample time.
  */
  sConfig.Channel = ADC_CHANNEL_9;
  sConfig.Rank = 1;
  sConfig.SamplingTime = ADC_SAMPLETIME_15CYCLES;
  if (HAL_ADC_ConfigChannel(&hadc3, &sConfig) != HAL_OK)
  {
    Error_Handler();
  }

}

static void MX_SPI5_Init(void)
{

  /* SPI5 parameter configuration*/
  hspi5.Instance = SPI5;
  hspi5.Init.Mode = SPI_MODE_MASTER;
  hspi5.Init.Direction = SPI_DIRECTION_2LINES;
  hspi5.Init.DataSize = SPI_DATASIZE_8BIT;
  hspi5.Init.CLKPolarity = SPI_POLARITY_LOW;
  hspi5.Init.CLKPhase = SPI_PHASE_1EDGE;
  hspi5.Init.NSS = SPI_NSS_SOFT;
  hspi5.Init.BaudRatePrescaler = SPI_BAUDRATEPRESCALER_4;
  hspi5.Init.FirstBit = SPI_FIRSTBIT_MSB;
  hspi5.Init.TIMode = SPI_TIMODE_DISABLE;
  hspi5.Init.CRCCalculation = SPI_CRCCALCULATION_DISABLE;
  hspi5.Init.CRCPolynomial = 10;
  if (HAL_SPI_Init(&hspi5) != HAL_OK)
  {
    Error_Handler();
  }

}

static void MX_USART1_UART_Init(void)
{

  huart1.Instance = USART1;
  huart1.Init.BaudRate = 115200;
  huart1.Init.WordLength = UART_WORDLENGTH_8B;
  huart1.Init.StopBits = UART_STOPBITS_1;
  huart1.Init.Parity = UART_PARITY_NONE;
  huart1.Init.Mode = UART_MODE_TX_RX;
  huart1.Init.HwFlowCtl = UART_HWCONTROL_NONE;
  huart1.Init.OverSampling = UART_OVERSAMPLING_16;
  if (HAL_UART_Init(&huart1) != HAL_OK)
  {
    Error_Handler();
  }

}

static void MX_GPIO_Init(void)
{
  GPIO_InitTypeDef GPIO_InitStruct = {0};

  /* GPIO Ports Clock Enable */
  __HAL_RCC_GPIOF_CLK_ENABLE();
  __HAL_RCC_GPIOH_CLK_ENABLE();
  __HAL_RCC_GPIOC_CLK_ENABLE();
  __HAL_RCC_GPIOA_CLK_ENABLE();
  __HAL_RCC_GPIOD_CLK_ENABLE();
  __HAL_RCC_GPIOG_CLK_ENABLE();

  /*Configure GPIO pin Output Level */
  HAL_GPIO_WritePin(CS_GPIO_Port, CS_Pin, 0);

  /*Configure GPIO pin Output Level */
  HAL_GPIO_WritePin(GPIOD, RES_Pin|DC_Pin|LED4_Pin|LED3_Pin, 0);

  /*Configure GPIO pin Output Level */
  HAL_GPIO_WritePin(GPIOG, LED2_Pin|LED1_Pin, 0);

  /*Configure GPIO pin : CS_Pin */
  GPIO_InitStruct.Pin = CS_Pin;
  GPIO_InitStruct.Mode = GPIO_MODE_OUTPUT_PP;
  GPIO_InitStruct.Pull = GPIO_NOPULL;
  GPIO_InitStruct.Speed = GPIO_SPEED_FREQ_HIGH;
  HAL_GPIO_Init(CS_GPIO_Port, &GPIO_InitStruct);

  /*Configure GPIO pin : BTN_Pin */
  GPIO_InitStruct.Pin = BTN_Pin;
  GPIO_InitStruct.Mode = GPIO_MODE_INPUT;
  GPIO_InitStruct.Pull = GPIO_NOPULL;
  HAL_GPIO_Init(BTN_GPIO_Port, &GPIO_InitStruct);

  /*Configure GPIO pins : RES_Pin DC_Pin */
  GPIO_InitStruct.Pin = RES_Pin|DC_Pin;
  GPIO_InitStruct.Mode = GPIO_MODE_OUTPUT_PP;
  GPIO_InitStruct.Pull = GPIO_NOPULL;
  GPIO_InitStruct.Speed = GPIO_SPEED_FREQ_VERY_HIGH;
  HAL_GPIO_Init(GPIOD, &GPIO_InitStruct);

  /*Configure GPIO pins : LED4_Pin LED3_Pin */
  GPIO_InitStruct.Pin = LED4_Pin|LED3_Pin;
  GPIO_InitStruct.Mode = GPIO_MODE_OUTPUT_PP;
  GPIO_InitStruct.Pull = GPIO_NOPULL;
  GPIO_InitStruct.Speed = GPIO_SPEED_FREQ_LOW;
  HAL_GPIO_Init(GPIOD, &GPIO_InitStruct);

  /*Configure GPIO pins : LED2_Pin LED1_Pin */
  GPIO_InitStruct.Pin = LED2_Pin|LED1_Pin;
  GPIO_InitStruct.Mode = GPIO_MODE_OUTPUT_PP;
  GPIO_InitStruct.Pull = GPIO_NOPULL;
  GPIO_InitStruct.Speed = GPIO_SPEED_FREQ_LOW;
  HAL_GPIO_Init(GPIOG, &GPIO_InitStruct);

  /*Configure GPIO pins : BTN_LEFT_Pin BTN_RIGHT_Pin BTN_DOWN_Pin BTN_START_Pin */
  GPIO_InitStruct.Pin = BTN_LEFT_Pin|BTN_RIGHT_Pin|BTN_DOWN_Pin|BTN_START_Pin;
  GPIO_InitStruct.Mode = GPIO_MODE_IT_FALLING;
  GPIO_InitStruct.Pull = GPIO_PULLUP;
  HAL_GPIO_Init(GPIOG, &GPIO_InitStruct);

  /*Configure GPIO pin : BTN_UP_Pin */
  GPIO_InitStruct.Pin = BTN_UP_Pin;
  GPIO_InitStruct.Mode = GPIO_MODE_IT_FALLING;
  GPIO_InitStruct.Pull = GPIO_PULLUP;
  HAL_GPIO_Init(BTN_UP_GPIO_Port, &GPIO_InitStruct);

  /* EXTI interrupt init*/
  HAL_NVIC_SetPriority(EXTI9_5_IRQn, 0, 0);
  HAL_NVIC_EnableIRQ(EXTI9_5_IRQn);

}

/* USER CODE BEGIN 4 */
void HAL_UART_RxCpltCallback(UART_HandleTypeDef *huart)
{
	if(huart->Instance == USART1)
	{
		switch(input_buffer[0])
		{
			case 'w' : case 'W' : uart_up = 1; break;
			case 'a' : case 'A' : uart_left = 1; break;
			case 'd' : case 'D' : uart_right = 1; break;
			case 's' : case 'S' : uart_down = 1; break;
			case 'e' : case 'E' : uart_start = 1; break;
		}
		HAL_UART_Receive_IT(&huart1, input_buffer, 1);
	}
}

	void HAL_GPIO_EXTI_Callback(uint16_t GPIO_Pin)
	{
		static uint32_t last_interrupt_time_up = 0;
		static uint32_t last_interrupt_time_left = 0;
		static uint32_t last_interrupt_time_right = 0;
		static uint32_t last_interrupt_time_down = 0;
		static uint32_t last_interrupt_time_start = 0;
		uint32_t current_time = HAL_GetTick();
		const uint32_t debounce_delay = 50;

		switch (GPIO_Pin)
		{
			case BTN_UP_Pin: // PC9
				if ((current_time - last_interrupt_time_up) > debounce_delay)
				{
					last_interrupt_time_up = current_time;
					uart_up = 1;
				}
				break;

			case BTN_LEFT_Pin: // PG5
				if ((current_time - last_interrupt_time_left) > debounce_delay)
				{
					last_interrupt_time_left = current_time;
					uart_left = 1;
				}
				break;

			case BTN_RIGHT_Pin: // PG6
				if ((current_time - last_interrupt_time_right) > debounce_delay)
				{
					last_interrupt_time_right = current_time;
					uart_right = 1;
				}
				break;

			case BTN_DOWN_Pin: // PG7
				if ((current_time - last_interrupt_time_down) > debounce_delay)
				{
					last_interrupt_time_down = current_time;
					uart_down = 1;
				}
				break;

			case BTN_START_Pin: // PG8
				if ((current_time - last_interrupt_time_start) > debounce_delay)
				{
					last_interrupt_time_start = current_time;

					if (gamestatus == 3 || gamestatus == 2) {
						uart_up = 1;
					} else {
						uart_start = 1;
					}
				}
				break;

			default:
				break;
		}
	}
	/* USER CODE END 4 */

void Error_Handler(void)
{
  __disable_irq();
  while (1)
  {
  }
}
